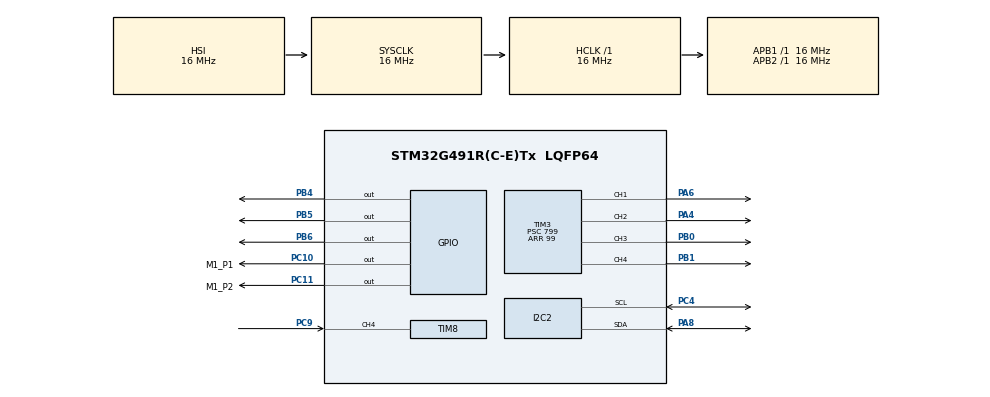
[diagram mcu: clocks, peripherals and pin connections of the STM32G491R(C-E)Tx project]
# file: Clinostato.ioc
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Dma.I2C2_TX.0.Direction=DMA_MEMORY_TO_PERIPH
Dma.I2C2_TX.0.EventEnable=DISABLE
Dma.I2C2_TX.0.Instance=DMA1_Channel1
Dma.I2C2_TX.0.MemDataAlignment=DMA_MDATAALIGN_BYTE
Dma.I2C2_TX.0.MemInc=DMA_MINC_ENABLE
Dma.I2C2_TX.0.Mode=DMA_NORMAL
Dma.I2C2_TX.0.PeriphDataAlignment=DMA_PDATAALIGN_BYTE
Dma.I2C2_TX.0.PeriphInc=DMA_PINC_DISABLE
Dma.I2C2_TX.0.Polarity=HAL_DMAMUX_REQ_GEN_RISING
Dma.I2C2_TX.0.Priority=DMA_PRIORITY_LOW
Dma.I2C2_TX.0.RequestNumber=1
Dma.I2C2_TX.0.SignalID=NONE
Dma.I2C2_TX.0.SyncEnable=DISABLE
Dma.I2C2_TX.0.SyncPolarity=HAL_DMAMUX_SYNC_NO_EVENT
Dma.I2C2_TX.0.SyncRequestNumber=1
Dma.I2C2_TX.0.SyncSignalID=NONE
Dma.Request0=I2C2_TX
I2C2.Timing=0x00503D58
Mcu.Family=STM32G4
Mcu.Name=STM32G491R(C-E)Tx
Mcu.Package=LQFP64
NVIC.DMA1_Channel1_IRQn=true\:2\:0\:true\:false\:true\:false\:true\:true
NVIC.I2C2_ER_IRQn=true\:2\:0\:true\:false\:true\:true\:true\:true
NVIC.I2C2_EV_IRQn=true\:2\:0\:true\:false\:true\:true\:true\:true
NVIC.PriorityGroup=NVIC_PRIORITYGROUP_4
NVIC.RCC_IRQn=true\:0\:0\:false\:false\:true\:true\:false\:true
NVIC.TIM2_IRQn=true\:0\:0\:false\:false\:true\:true\:true\:true
NVIC.TIM3_IRQn=true\:0\:0\:false\:false\:true\:true\:true\:true
NVIC.TIM4_IRQn=true\:0\:0\:true\:false\:true\:true\:true\:true
NVIC.TIM8_BRK_IRQn=true\:0\:0\:false\:false\:true\:true\:true\:true
NVIC.TIM8_CC_IRQn=true\:0\:0\:false\:false\:true\:true\:true\:true
NVIC.TIM8_TRG_COM_IRQn=true\:0\:0\:false\:false\:true\:true\:true\:true
NVIC.TIM8_UP_IRQn=true\:0\:0\:false\:false\:true\:true\:true\:true
PA13.GPIO_Label=T_SWDIO
PA13.Mode=Serial_Wire
PA13.Signal=SYS_JTMS-SWDIO
PA14.GPIO_Label=T_SWCLK
PA14.Mode=Serial_Wire
PA14.Signal=SYS_JTCK-SWCLK
PA2.GPIO_Label=LPUART1_TX [STLINKV3E_VCP_RX]
PA2.Signal=LPUART1_TX
PA3.GPIO_Label=LPUART1_RX [STLINKV3E_VCP_TX]
PA3.Signal=LPUART1_RX
PA4.Signal=S_TIM3_CH2
PA6.Signal=S_TIM3_CH1
PA8.Mode=I2C
PA8.Signal=I2C2_SDA
PB0.Signal=S_TIM3_CH3
PB1.Signal=S_TIM3_CH4
PB3.GPIO_Label=T_SWO
PB3.Signal=SYS_JTDO-SWO
PB4.Signal=GPIO_Output
PB5.Signal=GPIO_Output
PB6.Signal=GPIO_Output
PC10.GPIO_Label=M1_P1
PC10.Signal=GPIO_Output
PC11.GPIO_Label=M1_P2
PC11.Signal=GPIO_Output
PC14-OSC32_IN.GPIO_Label=RCC_OSC32_IN
PC14-OSC32_IN.Signal=RCC_OSC32_IN
PC15-OSC32_OUT.GPIO_Label=RCC_OSC32_OUT
PC15-OSC32_OUT.Signal=RCC_OSC32_OUT
PC4.Mode=I2C
PC4.Signal=I2C2_SCL
PC9.Signal=S_TIM8_CH4
PF0-OSC_IN.GPIO_Label=RCC_OSC_IN
PF0-OSC_IN.Signal=RCC_OSC_IN
PF1-OSC_OUT.GPIO_Label=RCC_OSC_OUT
PF1-OSC_OUT.Signal=RCC_OSC_OUT
ProjectManager.HeapSize=0x200
ProjectManager.StackSize=0x400
ProjectManager.TargetToolchain=STM32CubeIDE
RCC.ADC12Freq_Value=16000000
RCC.ADC345Freq_Value=16000000
RCC.AHBFreq_Value=16000000
RCC.APB1Freq_Value=16000000
RCC.APB1TimFreq_Value=16000000
RCC.APB2Freq_Value=16000000
RCC.APB2TimFreq_Value=16000000
RCC.CortexFreq_Value=16000000
RCC.EXTERNAL_CLOCK_VALUE=12288000
RCC.HCLKFreq_Value=16000000
RCC.HSE_VALUE=24000000
RCC.HSI48_VALUE=48000000
RCC.HSI_VALUE=16000000
RCC.LSE_VALUE=32768
RCC.PLLM=RCC_PLLM_DIV4
RCC.PLLN=85
RCC.RTCClockSelection=RCC_RTCCLKSOURCE_LSE
RCC.SYSCLKFreq_VALUE=16000000
RCC.USBFreq_Value=48000000
RCC.VCOOutputFreq_Value=340000000
SH.S_TIM3_CH1.0=TIM3_CH1,PWM Generation1 CH1
SH.S_TIM3_CH2.0=TIM3_CH2,PWM Generation2 CH2
SH.S_TIM3_CH3.0=TIM3_CH3,PWM Generation3 CH3
SH.S_TIM3_CH4.0=TIM3_CH4,PWM Generation4 CH4
SH.S_TIM8_CH4.0=TIM8_CH4,Input_Capture4_from_TI4
TIM2.PeriodNoDither=4294967295
TIM2.Prescaler=31999
TIM3.Channel-PWM\ Generation1\ CH1=TIM_CHANNEL_1
TIM3.Channel-PWM\ Generation2\ CH2=TIM_CHANNEL_2
TIM3.Channel-PWM\ Generation3\ CH3=TIM_CHANNEL_3
TIM3.Channel-PWM\ Generation4\ CH4=TIM_CHANNEL_4
TIM3.PeriodNoDither=99
TIM3.Prescaler=799
TIM4.PeriodNoDither=9999
TIM4.Prescaler=15
TIM8.Channel-Input_Capture4_from_TI4=TIM_CHANNEL_4
TIM8.Prescaler=31999
VP_SYS_VS_DBSignals.Mode=DisableDeadBatterySignals
VP_TIM2_VS_ClockSourceINT.Mode=Internal
VP_TIM3_VS_ClockSourceINT.Mode=Internal
VP_TIM4_VS_ClockSourceINT.Mode=Internal
VP_TIM8_VS_ClockSourceINT.Mode=Internal
board=NUCLEO-G491RE

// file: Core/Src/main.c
/* USER CODE BEGIN Header */
/**
 ******************************************************************************
 * @file           : main.c
 * @brief          : Main program body
 ******************************************************************************
 * @attention
 *
 * Copyright (c) 2026 STMicroelectronics.
 * All rights reserved.
 *
 * This software is licensed under terms that can be found in the LICENSE file
 * in the root directory of this software component.
 * If no LICENSE file comes with this software, it is provided AS-IS.
 *
 ******************************************************************************
 */
/* USER CODE END Header */
#include "main.h"
#include "dma.h"
#include "i2c.h"
#include "tim.h"
#include "gpio.h"

/* USER CODE BEGIN Includes */
/* USER CODE BEGIN Includes */
#include "funciones_clinostato.h"
#include "math.h"
#include "ssd1306.h"
#include "ssd1306_dma.h"
#include "ssd1306_fonts.h"
#include <stdio.h>
/* USER CODE END Includes */

/* USER CODE BEGIN PV */
//Captura de velocidad
volatile uint32_t primera_captura_1 = 1, captura_anterior_1 = 0, delta_m1 = 0;
volatile uint32_t primera_captura_2 = 1, captura_anterior_2 = 0, delta_m2 = 0;
volatile uint8_t hay_captura = 0;
volatile uint8_t flag_sensado_m1 = 0;
volatile uint8_t flag_sensado_m2 = 0;
volatile float rpm1 = 0.0f, rpm2 = 0.0f;
volatile uint32_t motor_detenido = 0;
uint32_t delta_local = 0;

//Motor Parado
uint32_t tiempo_parado = 0, llego_pulso = 0;

volatile HAL_StatusTypeDef estado_oled = HAL_ERROR;
volatile HAL_StatusTypeDef estado_envio_oled = HAL_ERROR;
volatile uint8_t flag_actualizar_oled = 0;
uint8_t contador_oled = 0;
char texto_rpm1[24];

//variables temp para debuguear
float salida_pid = 0.0f;
uint32_t ccr_actual = 0;
float set_point = 15.0f;

volatile float error = 0.0f;
volatile float error_3s = 0.0f, error_5s = 0.0f, error_10s = 0.0f;
uint32_t tiempo_inicio_informe = 0;
uint8_t error_3s_registrado = 0, error_5s_registrado = 0, error_10s_registrado = 0;
uint32_t tiempo_pid = 0, tiempo_inicial = 0;
uint8_t flag_pid_listo = 1;

/* USER CODE END PV */

void SystemClock_Config(void);

int main(void)
{

  /* MCU Configuration--------------------------------------------------------*/

  /* Reset of all peripherals, Initializes the Flash interface and the Systick. */
  HAL_Init();

  /* USER CODE BEGIN Init */
  //variables para mostrar en informe
  tiempo_inicio_informe = HAL_GetTick();

  /* USER CODE END Init */

  /* Configure the system clock */
  SystemClock_Config();

  /* Initialize all configured peripherals */
  MX_GPIO_Init();
  MX_DMA_Init();
  MX_TIM2_Init();
  MX_TIM3_Init();
  MX_TIM4_Init();
  MX_I2C2_Init();
  MX_TIM8_Init();
  /* USER CODE BEGIN 2 */
  volatile uint32_t ccr_inicial = ccr_actual;

  //variables para mostrar en informe
  /* Comprobar que la pantalla responde. */
  estado_oled = HAL_I2C_IsDeviceReady(
      &hi2c2,
      SSD1306_I2C_ADDR,
      3,
      100
  );

  if (estado_oled == HAL_OK) {
      /* Inicialización bloqueante, una sola vez. */
      ssd1306_Init();

      /* Preparar la imagen en RAM. */
      ssd1306_Fill(Black);
      ssd1306_SetCursor(0, 0);
      ssd1306_WriteString("RPM1: 0.00", Font_7x10, White);

      /* Iniciar su transmisión por DMA. */
      estado_envio_oled = ssd1306_UpdateScreen_DMA();
  }

	//comprobacion de pines
	__HAL_TIM_SET_COMPARE(&htim3, TIM_CHANNEL_3, ccr_actual);
	__HAL_TIM_SET_COMPARE(&htim3, TIM_CHANNEL_2, 0);
	HAL_TIM_PWM_Start(&htim3, TIM_CHANNEL_3);
	HAL_TIM_Base_Start_IT(&htim2);
	HAL_TIM_IC_Start_IT(&htim8, TIM_CHANNEL_4);
	HAL_TIM_Base_Start_IT(&htim4);

	//comprobacion de pines
	HAL_GPIO_WritePin(M1_P1_GPIO_Port, M1_P1_Pin, GPIO_PIN_SET);
	HAL_GPIO_WritePin(M1_P2_GPIO_Port, M1_P2_Pin, GPIO_PIN_RESET);
	HAL_GPIO_WritePin(GPIOB, GPIO_PIN_4|GPIO_PIN_5|GPIO_PIN_6, GPIO_PIN_RESET);
	tiempo_inicial = HAL_GetTick();
  /* USER CODE END 2 */

  /* Infinite loop */
  /* USER CODE BEGIN WHILE */
	while (1) {

		ssd1306_Process();

		// Medición habitual del motor 1
		if (flag_sensado_m1 == 1) {
			delta_local = delta_m1;
			rpm1 = Calcular_RPM(Filtro_Promedio(delta_local, 1));
			flag_sensado_m1 = 0;
		}

		// Medición habitual del motor 2
		if (flag_sensado_m2) {
			delta_local = delta_m2;
			rpm2 = Calcular_RPM(Filtro_Promedio(delta_local, 2));
			flag_sensado_m2 = 0;
		}

		/* TIM4 solicita el refresco; el dibujo y el envío se hacen fuera de la ISR. */
		if (flag_actualizar_oled && estado_oled == HAL_OK && !ssd1306_Ocupada()) {
			flag_actualizar_oled = 0;
			/* Formato con dos decimales sin habilitar printf de punto flotante. */
			uint32_t rpm1_centesimas = (uint32_t)(rpm1 * 100.0f + 0.5f);
			snprintf(texto_rpm1, sizeof(texto_rpm1), "RPM1: %lu.%02lu",
			         (unsigned long)(rpm1_centesimas / 100U),
			         (unsigned long)(rpm1_centesimas % 100U));
			ssd1306_Fill(Black);
			ssd1306_SetCursor(0, 0);
			ssd1306_WriteString(texto_rpm1, Font_7x10, White);
			estado_envio_oled = ssd1306_UpdateScreen_DMA();
			if (estado_envio_oled == HAL_BUSY) {
				flag_actualizar_oled = 1;
			}
		}

    /* USER CODE END WHILE */

    /* USER CODE BEGIN 3 */
		//variables para mostrar en informe
		error = fabsf(set_point - rpm1);
		uint32_t tiempo_informe = HAL_GetTick() - tiempo_inicio_informe;
		if (!error_3s_registrado && tiempo_informe >= 3000U) {
			error_3s = error;
			error_3s_registrado = 1;
		}
		if (!error_5s_registrado && tiempo_informe >= 5000U) {
			error_5s = error;
			error_5s_registrado = 1;
		}
		if (!error_10s_registrado && tiempo_informe >= 10000U) {
			error_10s = error;
			error_10s_registrado = 1;
		}
		if (error <= 0.5f && flag_pid_listo) {
		    tiempo_pid = HAL_GetTick() - tiempo_inicial;
		    flag_pid_listo = 0;
		}
	}
  /* USER CODE END 3 */
}

void SystemClock_Config(void)
{
  RCC_OscInitTypeDef RCC_OscInitStruct = {0};
  RCC_ClkInitTypeDef RCC_ClkInitStruct = {0};

  /** Configure the main internal regulator output voltage
  */
  HAL_PWREx_ControlVoltageScaling(PWR_REGULATOR_VOLTAGE_SCALE1);

  /** Initializes the RCC Oscillators according to the specified parameters
  * in the RCC_OscInitTypeDef structure.
  */
  RCC_OscInitStruct.OscillatorType = RCC_OSCILLATORTYPE_HSI;
  RCC_OscInitStruct.HSIState = RCC_HSI_ON;
  RCC_OscInitStruct.HSICalibrationValue = RCC_HSICALIBRATION_DEFAULT;
  RCC_OscInitStruct.PLL.PLLState = RCC_PLL_NONE;
  if (HAL_RCC_OscConfig(&RCC_OscInitStruct) != HAL_OK)
  {
    Error_Handler();
  }

  /** Initializes the CPU, AHB and APB buses clocks
  */
  RCC_ClkInitStruct.ClockType = RCC_CLOCKTYPE_HCLK|RCC_CLOCKTYPE_SYSCLK
                              |RCC_CLOCKTYPE_PCLK1|RCC_CLOCKTYPE_PCLK2;
  RCC_ClkInitStruct.SYSCLKSource = RCC_SYSCLKSOURCE_HSI;
  RCC_ClkInitStruct.AHBCLKDivider = RCC_SYSCLK_DIV1;
  RCC_ClkInitStruct.APB1CLKDivider = RCC_HCLK_DIV1;
  RCC_ClkInitStruct.APB2CLKDivider = RCC_HCLK_DIV1;

  if (HAL_RCC_ClockConfig(&RCC_ClkInitStruct, FLASH_LATENCY_0) != HAL_OK)
  {
    Error_Handler();
  }
}

/* USER CODE BEGIN 4 */
void HAL_TIM_IC_CaptureCallback(TIM_HandleTypeDef *htim) {

	if (htim->Instance == TIM8 &&
		htim->Channel == HAL_TIM_ACTIVE_CHANNEL_4) {

			uint32_t captura_actual_1 = HAL_TIM_ReadCapturedValue(htim,
			TIM_CHANNEL_4);

			if (primera_captura_1) {
				captura_anterior_1 = captura_actual_1;
				primera_captura_1 = 0;
				return; //sale del if si solo tengo una medicion y no puedo calcular delta
			}
			// TIM8 cuenta 16 bits: diferencia módulo 65536 ante desbordamiento.
			delta_m1 = (uint16_t)(captura_actual_1 - captura_anterior_1);
			captura_anterior_1 = captura_actual_1;
			flag_sensado_m1 = 1;
			tiempo_parado = 0;

	} else if (htim->Instance == TIM2 &&
			   htim->Channel == HAL_TIM_ACTIVE_CHANNEL_2) {
			uint32_t captura_actual_2 = HAL_TIM_ReadCapturedValue(htim,
			TIM_CHANNEL_2);
			if (primera_captura_2) {
				captura_anterior_2 = captura_actual_2;
				primera_captura_2 = 0;
				return; //sale del if si solo tengo una medicion y no puedo calcular delta
			}
			delta_m2 = captura_actual_2 - captura_anterior_2;
			captura_anterior_2 = captura_actual_2;
			flag_sensado_m2 = 1;
	}

}

void HAL_TIM_PeriodElapsedCallback(TIM_HandleTypeDef *htim) {
	if (htim->Instance == TIM4) {
		/* 16 MHz / (15 + 1) / (9999 + 1) = 100 interrupciones/s. */
		if (++contador_oled >= 100U) {
			contador_oled = 0;
			flag_actualizar_oled = 1;
		}

		//Si no llegan pulsos en 1 segundo pone rpm en 0 (tengo que hacer esto para el otro motor)
		if (!flag_sensado_m1) {
			tiempo_parado++;
		}
		if (tiempo_parado == 100) {
			rpm1 = 0;
		}

		PID(1, set_point, rpm1, &salida_pid, &ccr_actual);
	}
}

void HAL_I2C_MemTxCpltCallback(I2C_HandleTypeDef *hi2c)
{
    ssd1306_DMA_TxCpltCallback(hi2c);
}

void HAL_I2C_ErrorCallback(I2C_HandleTypeDef *hi2c)
{
    ssd1306_DMA_ErrorCallback(hi2c);
}

/* USER CODE END 4 */

void Error_Handler(void)
{
	__disable_irq();
	while (1) {
	}
}
